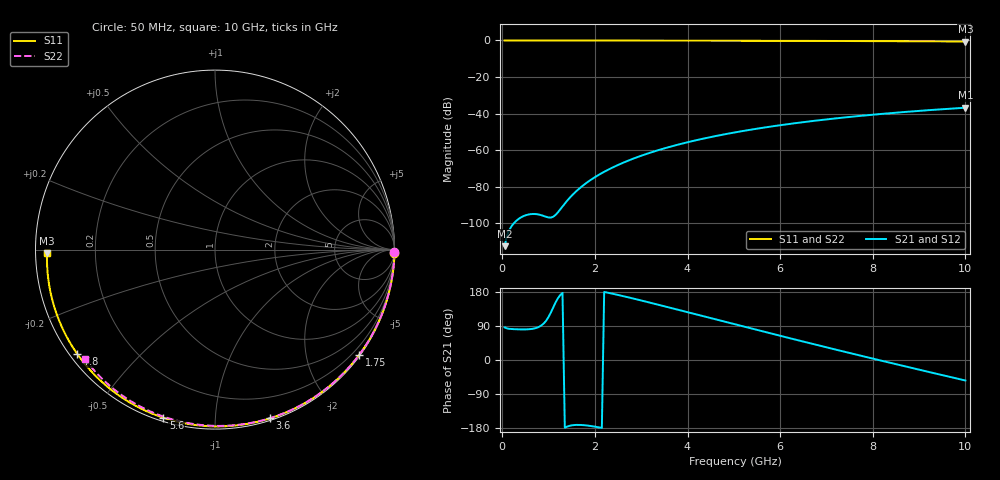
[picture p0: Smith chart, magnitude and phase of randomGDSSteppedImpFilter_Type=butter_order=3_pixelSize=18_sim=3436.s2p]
! freq	dB(S11)	phase(S11)	dB(S12)	phase(S12)
!  dB(S21)	phase(S21)	dB(S22)	phase(S22)
!S-par simulation data
#  GHz  S  DB  R 50
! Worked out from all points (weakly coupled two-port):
!   200 points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, 50 MHz to 10 GHz, reference 50 ohm
!   highest |S21| = -36.79 dB at 10 GHz (marker M1); lowest = -112.5 dB at 50 MHz (marker M2)
!   lowest |S11| = -0.6 dB at 10 GHz (marker M3), VSWR 30.33, Z = 1.65 - j0.552 ohm
!   |S11| at or under -10 dB: nowhere
!   |S22| runs from -0.5 to 0.0 dB; largest |S21 - S12| = 0
!   S11 on the Smith chart (normalised r, x): 50 MHz: open; 1.75 GHz: 0.03, -3.06; 3.6 GHz: 0.02, -1.38; 5.6 GHz: 0.02, -0.74; 7.8 GHz: 0.02, -0.34; 10 GHz: 0.03, -0.01
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0.05  -0.00 -1.1  -112.49 86.0  -112.49 86.0  -0.00 -0.8
0.45  -0.01 -9.5  -96.14 80.7  -96.14 80.7  -0.01 -7.3
0.85  -0.02 -17.8  -95.60 91.7  -95.60 91.7  -0.02 -13.7
1.25  -0.03 -26.0  -92.42 171.0  -92.42 171.0  -0.03 -20.1
1.7  -0.04 -35.1  -80.18 -171.5  -80.18 -171.5  -0.03 -27.1
1.75  -0.05 -36.2  -79.17 -171.9  -79.17 -171.9  -0.04 -27.9
2.05  -0.05 -42.2  -73.99 -176.9  -73.99 -176.9  -0.04 -32.6
2.25  -0.06 -46.1  -71.15 178.3  -71.15 178.3  -0.05 -35.7
2.45  -0.06 -50.0  -68.65 173.1  -68.65 173.1  -0.05 -38.8
2.9  -0.08 -58.7  -63.95 160.1  -63.95 160.1  -0.06 -45.6
3.4  -0.09 -68.2  -59.75 144.9  -59.75 144.9  -0.07 -53.1
3.6  -0.10 -71.9  -58.29 138.7  -58.29 138.7  -0.08 -56.1
4.3  -0.12 -84.6  -53.91 116.8  -53.91 116.8  -0.09 -66.2
5.05  -0.15 -97.7  -50.15 93.3  -50.15 93.3  -0.12 -76.8
5.6  -0.18 -107.0  -47.84 76.2  -47.84 76.2  -0.14 -84.3
6.15  -0.21 -116.2  -45.82 59.3  -45.82 59.3  -0.16 -91.7
6.7  -0.24 -125.1  -44.05 42.5  -44.05 42.5  -0.19 -98.9
7.25  -0.28 -134.0  -42.47 25.9  -42.47 25.9  -0.22 -105.9
7.8  -0.33 -142.8  -41.07 9.6  -41.07 9.6  -0.26 -112.9
8.35  -0.38 -151.6  -39.82 -6.6  -39.82 -6.6  -0.31 -119.7
9.2  -0.47 -165.4  -38.13 -31.2  -38.13 -31.2  -0.39 -130.2
10  -0.57 -178.7  -36.79 -54.1  -36.79 -54.1  -0.47 -140.0
